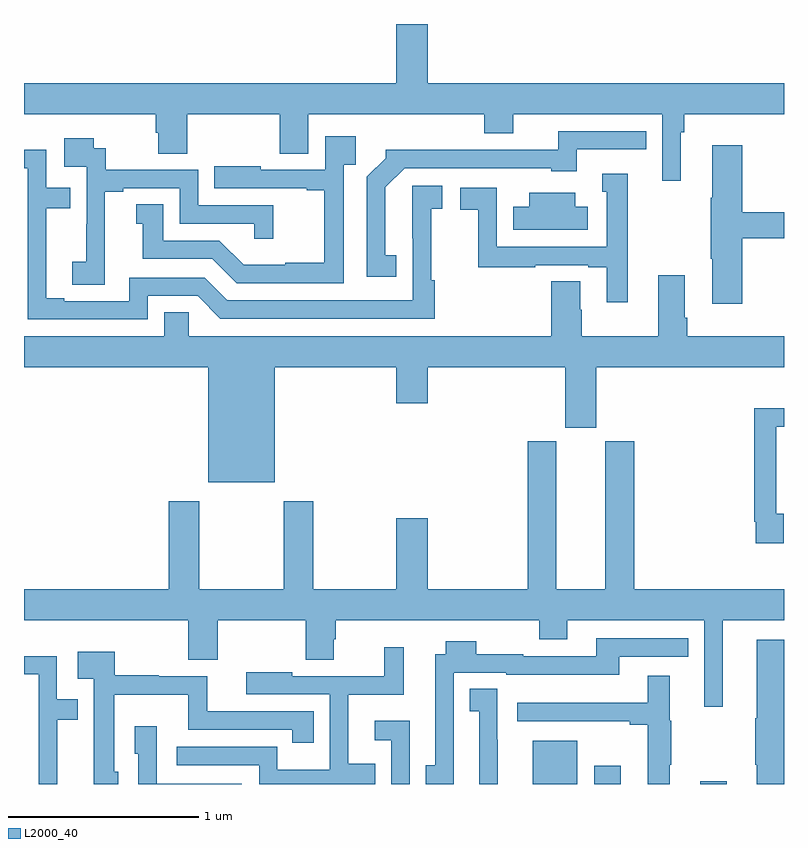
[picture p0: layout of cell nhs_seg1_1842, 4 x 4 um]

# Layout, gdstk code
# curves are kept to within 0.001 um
import gdstk
lib = gdstk.Library(unit=1e-6, precision=1e-09)
def R(c, l, rs):  # rectangles x0, y0, x1, y1
    for r in rs: c.add(gdstk.rectangle(r[:2], r[2:], *l))
def P(c, l, *ps):  # polygons
    for p in ps: c.add(gdstk.Polygon(p, *l))
L2000_40 = (2000, 40)

nhs_seg1_1842 = lib.new_cell('nhs_seg1_1842')
R(nhs_seg1_1842, L2000_40, [(213.677,556.199,213.913,556.426), (214.001,556.199,214.141,556.294), (214.559,556.199,214.699,556.213)])
P(nhs_seg1_1842, L2000_40, [(214.456,559.628),(214.475,559.628),(214.475,559.724),(215,559.724),(215,559.888),(213.124,559.888),(213.124,560.199),(212.96,560.199),(212.96,559.888),(211,559.888),(211,559.724),(211.694,559.724),(211.694,559.626),(211.706,559.626),(211.706,559.516),(211.859,559.516),(211.859,559.724),(212.345,559.724),(212.345,559.516),(212.497,559.516),(212.497,559.724),(213.422,559.724),(213.422,559.625),(213.574,559.625),(213.574,559.724),(214.359,559.724),(214.359,559.374),(214.456,559.374)],
  [(212.96,558.983),(212.902,558.983),(212.902,559.339),(213.003,559.44),(213.774,559.44),(213.774,559.424),(213.91,559.424),(213.91,559.539),(214.274,559.539),(214.274,559.635),(213.811,559.635),(213.811,559.536),(213.338,559.536),(213.338,559.538),(212.904,559.538),(212.904,559.493),(212.805,559.394),(212.805,558.87),(212.96,558.87)],
  [(212.682,559.457),(212.747,559.457),(212.747,559.609),(212.586,559.609),(212.586,559.431),(212.245,559.431),(212.245,559.45),(212.002,559.45),(212.002,559.335),(212.489,559.335),(212.489,559.323),(212.581,559.323),(212.581,558.943),(212.375,558.943),(212.375,558.931),(212.156,558.931),(212.028,559.059),(211.732,559.059),(211.732,559.25),(211.592,559.25),(211.592,559.147),(211.625,559.147),(211.625,558.963),(211.992,558.963),(212.121,558.834),(212.682,558.834)],
  [(211.424,558.937),(211.426,558.937),(211.426,559.315),(211.522,559.315),(211.522,559.335),(211.821,559.335),(211.821,559.149),(212.211,559.149),(212.211,559.068),(212.312,559.068),(212.312,559.245),(211.917,559.245),(211.917,559.431),(211.43,559.431),(211.43,559.545),(211.368,559.545),(211.368,559.597),(211.212,559.597),(211.212,559.449),(211.329,559.449),(211.329,559.145),(211.328,559.145),(211.328,558.948),(211.254,558.948),(211.254,558.826),(211.424,558.826)],
  [(214.781,559.072),(215,559.072),(215,559.208),(214.781,559.208),(214.781,559.561),(214.622,559.561),(214.622,559.285),(214.615,559.285),(214.615,558.964),(214.622,558.964),(214.622,558.726),(214.781,558.726)],
  [(211.65,558.768),(211.914,558.768),(212.034,558.648),(213.161,558.648),(213.161,558.851),(213.144,558.851),(213.144,559.227),(213.202,559.227),(213.202,559.348),(213.044,559.348),(213.045,558.744),(212.07,558.744),(211.95,558.864),(211.554,558.864),(211.554,558.741),(211.213,558.741),(211.213,558.756),(211.117,558.756),(211.117,559.23),(211.244,559.23),(211.244,559.338),(211.116,559.338),(211.116,559.536),(211,559.536),(211,559.44),(211.02,559.44),(211.02,558.645),(211.65,558.645)],
  [(214.177,559.411),(214.043,559.411),(214.043,559.317),(214.068,559.317),(214.068,559.026),(213.489,559.026),(213.489,559.338),(213.297,559.338),(213.297,559.222),(213.391,559.222),(213.391,558.918),(213.692,558.918),(213.692,558.93),(213.971,558.93),(213.971,558.918),(214.067,558.918),(214.067,558.735),(214.177,558.735)],
  [(213.967,559.237),(213.901,559.237),(213.901,559.312),(213.659,559.312),(213.659,559.237),(213.574,559.237),(213.574,559.115),(213.967,559.115)],
  [(212.32,558.392),(212.96,558.392),(212.96,558.204),(213.124,558.204),(213.124,558.392),(213.848,558.392),(213.848,558.075),(214.012,558.075),(214.012,558.392),(215,558.392),(215,558.556),(214.49,558.556),(214.49,558.652),(214.477,558.652),(214.477,558.877),(214.337,558.877),(214.337,558.556),(213.936,558.556),(213.936,558.695),(213.928,558.695),(213.928,558.845),(213.776,558.845),(213.776,558.556),(211.866,558.556),(211.866,558.683),(211.739,558.683),(211.739,558.556),(211,558.556),(211,558.392),(211.97,558.392),(211.97,557.786),(212.32,557.786)],
  [(214.999,557.622),(214.959,557.622),(214.959,558.078),(215,558.078),(215,558.176),(214.843,558.176),(214.843,557.578),(214.851,557.578),(214.851,557.466),(214.999,557.466)],
  [(214.678,557.06),(215,557.06),(215,557.224),(214.211,557.224),(214.211,558.003),(214.058,558.003),(214.058,557.224),(213.802,557.224),(213.802,558.003),(213.65,558.003),(213.65,557.224),(213.124,557.224),(213.124,557.599),(212.96,557.599),(212.96,557.224),(212.523,557.224),(212.523,557.686),(212.368,557.686),(212.368,557.224),(211.923,557.224),(211.923,557.686),(211.763,557.686),(211.763,557.224),(211,557.224),(211,557.06),(211.864,557.06),(211.864,556.852),(212.019,556.852),(212.019,557.06),(212.482,557.06),(212.482,556.852),(212.629,556.852),(212.629,556.962),(212.642,556.962),(212.642,557.06),(213.712,557.06),(213.712,556.961),(213.859,556.961),(213.859,557.06),(214.581,557.06),(214.581,556.605),(214.678,556.605)],
  [(213.262,556.502),(213.261,556.502),(213.261,556.785),(213.537,556.785),(213.537,556.775),(214.132,556.775),(214.132,556.869),(214.496,556.869),(214.496,556.965),(214.013,556.965),(214.013,556.872),(213.627,556.872),(213.627,556.882),(213.381,556.882),(213.381,556.951),(213.221,556.951),(213.221,556.881),(213.164,556.881),(213.164,556.299),(213.115,556.299),(213.115,556.199),(213.262,556.199)],
  [(215,556.957),(214.856,556.957),(214.856,556.544),(214.849,556.544),(214.849,556.3),(214.856,556.3),(214.856,556.199),(215,556.199)],
  [(212.849,556.306),(212.707,556.306),(212.707,556.67),(212.998,556.67),(212.998,556.918),(212.896,556.918),(212.896,556.767),(212.413,556.767),(212.413,556.786),(212.169,556.786),(212.169,556.671),(212.61,556.671),(212.61,556.273),(212.334,556.273),(212.334,556.394),(212.231,556.394),(212.231,556.395),(211.803,556.395),(211.803,556.299),(212.238,556.299),(212.238,556.199),(212.849,556.199)],
  [(211.495,556.263),(211.474,556.263),(211.474,556.67),(211.865,556.67),(211.865,556.485),(212.412,556.485),(212.412,556.416),(212.525,556.416),(212.525,556.581),(211.964,556.581),(211.964,556.767),(211.71,556.767),(211.71,556.772),(211.477,556.772),(211.477,556.894),(211.284,556.894),(211.284,556.754),(211.368,556.754),(211.368,556.658),(211.367,556.658),(211.367,556.199),(211.495,556.199)],
  [(211.175,556.536),(211.282,556.536),(211.282,556.644),(211.173,556.644),(211.173,556.872),(211,556.872),(211,556.776),(211.077,556.776),(211.077,556.199),(211.175,556.199)],
  [(214.399,556.3),(214.407,556.3),(214.407,556.533),(214.399,556.533),(214.399,556.768),(214.283,556.768),(214.283,556.627),(213.597,556.627),(213.597,556.53),(214.009,556.53),(214.009,556.528),(214.187,556.528),(214.187,556.51),(214.283,556.51),(214.283,556.199),(214.399,556.199)],
  [(213.494,556.433),(213.492,556.433),(213.492,556.7),(213.346,556.7),(213.346,556.582),(213.395,556.582),(213.395,556.199),(213.494,556.199)],
  [(213.03,556.531),(212.847,556.531),(212.847,556.43),(212.934,556.43),(212.934,556.199),(213.03,556.199)],
  [(212.145,556.2),(211.698,556.2),(211.698,556.504),(211.583,556.504),(211.583,556.359),(211.602,556.359),(211.602,556.199),(212.145,556.199)])

lib.write_gds('nhs_seg1_1842.gds')
